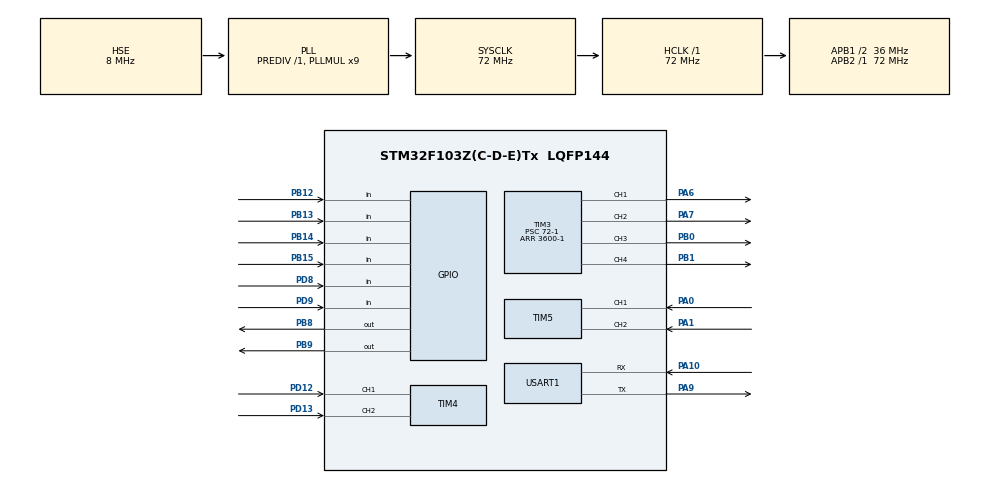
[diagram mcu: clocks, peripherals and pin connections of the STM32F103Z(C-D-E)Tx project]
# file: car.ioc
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Mcu.Family=STM32F1
Mcu.Name=STM32F103Z(C-D-E)Tx
Mcu.Package=LQFP144
NVIC.PriorityGroup=NVIC_PRIORITYGROUP_4
NVIC.TIM2_IRQn=true\:2\:0\:true\:true\:true\:1\:true\:true\:true
NVIC.USART1_IRQn=true\:0\:0\:false\:true\:true\:2\:true\:true\:true
OSC_IN.Mode=HSE-External-Oscillator
OSC_IN.Signal=RCC_OSC_IN
OSC_OUT.Mode=HSE-External-Oscillator
OSC_OUT.Signal=RCC_OSC_OUT
PA0-WKUP.Signal=S_TIM5_CH1
PA1.Signal=S_TIM5_CH2
PA10.Mode=Asynchronous
PA10.Signal=USART1_RX
PA13.Mode=Serial_Wire
PA13.Signal=SYS_JTMS-SWDIO
PA14.Mode=Serial_Wire
PA14.Signal=SYS_JTCK-SWCLK
PA6.Signal=S_TIM3_CH1
PA7.Signal=S_TIM3_CH2
PA9.Mode=Asynchronous
PA9.Signal=USART1_TX
PB0.Signal=S_TIM3_CH3
PB1.Signal=S_TIM3_CH4
PB12.Signal=GPIO_Input
PB13.Signal=GPIO_Input
PB14.Signal=GPIO_Input
PB15.Signal=GPIO_Input
PB8.GPIO_ModeDefaultOutputPP=GPIO_MODE_OUTPUT_PP
PB8.GPIO_PuPd=GPIO_PULLUP
PB8.GPIO_Speed=GPIO_SPEED_FREQ_HIGH
PB8.PinState=GPIO_PIN_SET
PB8.Signal=GPIO_Output
PB9.GPIO_ModeDefaultOutputPP=GPIO_MODE_OUTPUT_PP
PB9.GPIO_PuPd=GPIO_PULLUP
PB9.GPIO_Speed=GPIO_SPEED_FREQ_HIGH
PB9.PinState=GPIO_PIN_SET
PB9.Signal=GPIO_Output
PD12.Signal=S_TIM4_CH1
PD13.Signal=S_TIM4_CH2
PD8.Signal=GPIO_Input
PD9.Signal=GPIO_Input
ProjectManager.HeapSize=0x200
ProjectManager.StackSize=0x400
ProjectManager.TargetToolchain=MDK-ARM V5.27
RCC.AHBFreq_Value=72000000
RCC.APB1CLKDivider=RCC_HCLK_DIV2
RCC.APB1Freq_Value=36000000
RCC.APB1TimFreq_Value=72000000
RCC.APB2Freq_Value=72000000
RCC.APB2TimFreq_Value=72000000
RCC.HCLKFreq_Value=72000000
RCC.PLLMUL=RCC_PLL_MUL9
RCC.PLLSourceVirtual=RCC_PLLSOURCE_HSE
RCC.SYSCLKFreq_VALUE=72000000
RCC.SYSCLKSource=RCC_SYSCLKSOURCE_PLLCLK
RCC.USBFreq_Value=72000000
SH.S_TIM3_CH1.0=TIM3_CH1,PWM Generation1 CH1
SH.S_TIM3_CH2.0=TIM3_CH2,PWM Generation2 CH2
SH.S_TIM3_CH3.0=TIM3_CH3,PWM Generation3 CH3
SH.S_TIM3_CH4.0=TIM3_CH4,PWM Generation4 CH4
SH.S_TIM4_CH1.0=TIM4_CH1,Encoder_Interface
SH.S_TIM4_CH2.0=TIM4_CH2,Encoder_Interface
SH.S_TIM5_CH1.0=TIM5_CH1,Encoder_Interface
SH.S_TIM5_CH2.0=TIM5_CH2,Encoder_Interface
TIM2.Period=1000-1
TIM2.Prescaler=720-1
TIM3.Channel-PWM\ Generation1\ CH1=TIM_CHANNEL_1
TIM3.Channel-PWM\ Generation2\ CH2=TIM_CHANNEL_2
TIM3.Channel-PWM\ Generation3\ CH3=TIM_CHANNEL_3
TIM3.Channel-PWM\ Generation4\ CH4=TIM_CHANNEL_4
TIM3.Period=3600-1
TIM3.Prescaler=72-1
TIM4.ClockDivision=TIM_CLOCKDIVISION_DIV4
TIM4.EncoderMode=TIM_ENCODERMODE_TI12
TIM4.IC1Filter=10
TIM4.IC2Filter=10
TIM5.ClockDivision=TIM_CLOCKDIVISION_DIV4
TIM5.EncoderMode=TIM_ENCODERMODE_TI12
TIM5.IC1Filter=10
TIM5.IC2Filter=10
USART1.VirtualMode=VM_ASYNC
VP_TIM2_VS_ClockSourceINT.Mode=Internal
VP_TIM3_VS_ClockSourceINT.Mode=Internal
board=custom

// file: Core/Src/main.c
/* USER CODE BEGIN Header */
/**
  ******************************************************************************
  * @file           : main.c
  * @brief          : Main program body
  ******************************************************************************
  * @attention
  *
  * Copyright (c) 2024 STMicroelectronics.
  * All rights reserved.
  *
  * This software is licensed under terms that can be found in the LICENSE file
  * in the root directory of this software component.
  * If no LICENSE file comes with this software, it is provided AS-IS.
  *
  ******************************************************************************
  */
/* USER CODE END Header */
#include "main.h"
#include "tim.h"
#include "usart.h"
#include "gpio.h"

/* USER CODE BEGIN PV */

//extern int task_flag;
uint8_t cmd;
uint8_t TL=2,TR=2;

int Target_Velocity_L,Target_Velocity_R
    ,Reality_Velocity_L,Reality_Velocity_R;
int Target_Position_L,Target_Position_R
    ,Reality_Position_L,Reality_Position_R,
		Target_speed_L,Target_speed_R;
int i,TCOUNT=0;
int task_flag=0;
//����������
extern int Cx;
extern char command;

uint8_t speed_L,speed_R;
/* USER CODE END PV */

void SystemClock_Config(void);
static void MX_NVIC_Init(void);
/* USER CODE BEGIN PFP */
void task_1(void);
/* USER CODE END PFP */

/* USER CODE BEGIN 0 */
//void base1(void)
//{
//
//
//			control_x(0);
//	control_y(0);
//
//}
/* USER CODE END 0 */

int main(void)
{

  /* MCU Configuration--------------------------------------------------------*/

  /* Reset of all peripherals, Initializes the Flash interface and the Systick. */
  HAL_Init();

  /* Configure the system clock */
  SystemClock_Config();

  /* Initialize all configured peripherals */
  MX_GPIO_Init();
  MX_TIM2_Init();
  MX_TIM3_Init();
  MX_TIM4_Init();
  MX_TIM5_Init();
  MX_USART1_UART_Init();

  /* Initialize interrupts */
  MX_NVIC_Init();
  /* USER CODE BEGIN 2 */
	OLED_Init();
//	MPU6050_Init();
	PID_Init(1,0.03,0.01,16,0.1,0.25);

//	HAL_UART_Receive_IT(&huart1,(void *)&cmd, 1);

  /* USER CODE END 2 */

  /* Infinite loop */
  /* USER CODE BEGIN WHILE */
  while (1)
  {
		OLED_ShowNum(1,1,Reality_Position_L,3);
		OLED_ShowNum(2,1,speed_R,5);
		OLED_ShowNum(1,8,Reality_Position_R,3);
		OLED_ShowNum(3,1,1,5);
		speed_L=Moto_Speed(Reality_Velocity_L);
		speed_R=Moto_Speed(Reality_Velocity_R);
		Target_speed_L=Rpm_Encoder_Cnt(300,10);
		Target_speed_R=Rpm_Encoder_Cnt(300,10);
		if(task_flag==0){task_1();}
//		else{
//		Target_speed_L=-3;
//		Target_speed_R=4;
//		}
//		speed = Moto_Speed(Reality_Velocity[1],500,30,100);

//
//		printf("串口打印测试\n");
//		HAL_Delay(1000);
//		Target_Position_L=Num_Encoder_Cnt(2,11,9.6);
//		Target_Position_R=Num_Encoder_Cnt(2,11,9.6);
//		OLED_ShowNum(3,1,speed_L,6);
//
//		OLED_ShowNum(4,1,Reality_Position_R,6);
//		OLED_ShowNum(4,8,Reality_Velocity_R,6);
//		Data_send(Target_Position_L,Reality_Position_L,0,0);
    /* USER CODE END WHILE */

  }
}

void SystemClock_Config(void)
{
  RCC_OscInitTypeDef RCC_OscInitStruct = {0};
  RCC_ClkInitTypeDef RCC_ClkInitStruct = {0};

  /** Initializes the RCC Oscillators according to the specified parameters
  * in the RCC_OscInitTypeDef structure.
  */
  RCC_OscInitStruct.OscillatorType = RCC_OSCILLATORTYPE_HSE;
  RCC_OscInitStruct.HSEState = RCC_HSE_ON;
  RCC_OscInitStruct.HSEPredivValue = RCC_HSE_PREDIV_DIV1;
  RCC_OscInitStruct.HSIState = RCC_HSI_ON;
  RCC_OscInitStruct.PLL.PLLState = RCC_PLL_ON;
  RCC_OscInitStruct.PLL.PLLSource = RCC_PLLSOURCE_HSE;
  RCC_OscInitStruct.PLL.PLLMUL = RCC_PLL_MUL9;
  if (HAL_RCC_OscConfig(&RCC_OscInitStruct) != HAL_OK)
  {
    Error_Handler();
  }

  /** Initializes the CPU, AHB and APB buses clocks
  */
  RCC_ClkInitStruct.ClockType = RCC_CLOCKTYPE_HCLK|RCC_CLOCKTYPE_SYSCLK
                              |RCC_CLOCKTYPE_PCLK1|RCC_CLOCKTYPE_PCLK2;
  RCC_ClkInitStruct.SYSCLKSource = RCC_SYSCLKSOURCE_PLLCLK;
  RCC_ClkInitStruct.AHBCLKDivider = RCC_SYSCLK_DIV1;
  RCC_ClkInitStruct.APB1CLKDivider = RCC_HCLK_DIV2;
  RCC_ClkInitStruct.APB2CLKDivider = RCC_HCLK_DIV1;

  if (HAL_RCC_ClockConfig(&RCC_ClkInitStruct, FLASH_LATENCY_2) != HAL_OK)
  {
    Error_Handler();
  }
}

/**
  * @brief NVIC Configuration.
  * @retval None
  */
static void MX_NVIC_Init(void)
{
  /* TIM2_IRQn interrupt configuration */
  HAL_NVIC_SetPriority(TIM2_IRQn, 2, 0);
  HAL_NVIC_EnableIRQ(TIM2_IRQn);
  /* USART1_IRQn interrupt configuration */
  HAL_NVIC_SetPriority(USART1_IRQn, 0, 0);
  HAL_NVIC_EnableIRQ(USART1_IRQn);
}

/* USER CODE BEGIN 4 */

//串口接收中断函数
void HAL_UART_RxCpltCallback(UART_HandleTypeDef *huart)
{
	uint16_t Serial_RxData;
  if(huart->Instance==USART1){
		Serial_RxData=cmd;
//		openmv_receive(Serial_RxData);
	}
	HAL_UART_Receive_IT(&huart1,(void *)&cmd, 1);   //锟劫匡拷锟斤拷锟斤拷锟斤拷锟叫讹�?
}

void HAL_TIM_PeriodElapsedCallback(TIM_HandleTypeDef *htim)
{
    static int Moto_L = 0 , Moto_R = 0;
    if (htim->Instance == TIM2)
    {
//
      	Reality_Velocity_L = Read_Encoder(5);
				Reality_Velocity_R = Read_Encoder(4);
	      Reality_Position_L += Reality_Velocity_L;                   /* 实际位置脉冲�? */
        Reality_Position_R += Reality_Velocity_R;
//				speed_L=Moto_Speed(Reality_Velocity_L,13,11);
//				speed_R=Moto_Speed(Reality_Velocity_R,13,11);

//				Moto_L = Position_PID(Reality_Position_L,Target_Position_L);  /* 位置式位置控�? */                           /* 位置环输出限�? */
//				Moto_R = Position_PID(Reality_Position_R,Target_Position_R);  /* 位置式位置控�? */

        Moto_L = Incremental_PID(Reality_Velocity_L,Target_speed_L);      /* 增量式鿟度控�? */
        Moto_R = Incremental_PID(Reality_Velocity_R,Target_speed_R);      /* 增量式鿟度控�? */
  			motor_control(Moto_L ,Moto_R);
    }
}

void task_1(void)
{
	while(1)
	{
		if((Read_Huidu_IO2==1&&Read_Huidu_IO3==1)||(Read_Huidu_IO4==1&&Read_Huidu_IO5==1))
		{
			motor_STOP();
			task_flag++;
			break;
		}
		else
		{
//			Target_speed_L=Rpm_Encoder_Cnt(30,10);
//			Target_speed_R=Rpm_Encoder_Cnt(30,10);
		}
	}
	return;
//		int L,R;
//		if(command==76)
//		{
//			L=3;
//			R=0;
//		}
//		if(command==82)
//		{
//			L=0;
//			R=3;
//		}
//		if(command==75)
//		{
//				L=3;
//				R=3;
//		}
//		Target_speed_L=Rpm_Encoder_Cnt(L,10);
//		Target_speed_R=Rpm_Encoder_Cnt(R,10);
}

/* USER CODE END 4 */

void Error_Handler(void)
{
  __disable_irq();
  while (1)
  {
  }
}
